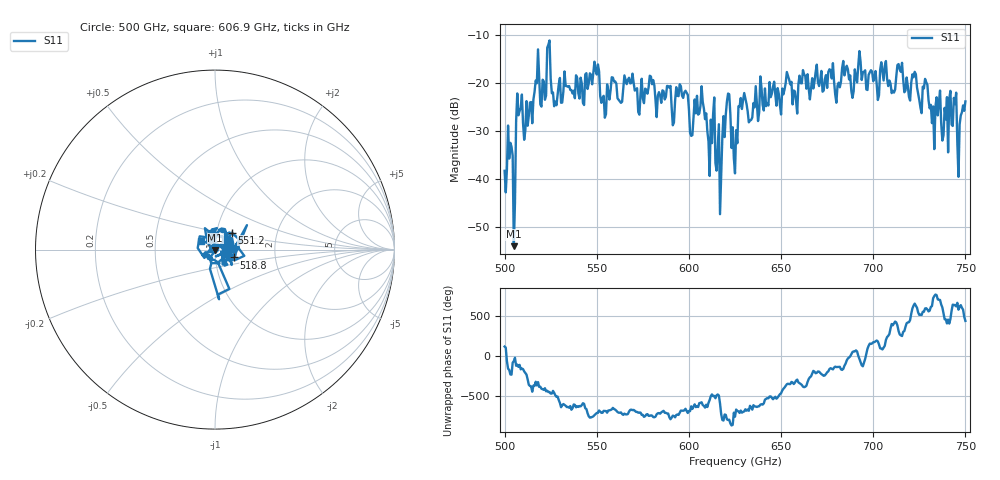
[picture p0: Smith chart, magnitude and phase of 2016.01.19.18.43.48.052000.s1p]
!Created with skrf (http://scikit-rf.org).
# GHz S RI R 50.0
!freq ReS11 ImS11
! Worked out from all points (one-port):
!   401 points, 500 GHz to 750 GHz, reference 50 ohm
!   lowest |S11| = -54.0 dB at 505 GHz (marker M1), VSWR 1.00, Z = 50.1 - j0.177 ohm
!   |S11| at or under -10 dB: start of sweep to end of sweep
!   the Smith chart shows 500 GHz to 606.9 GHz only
!   S11 on the Smith chart (normalised r, x): 500 GHz: 0.99, +0.02; 518.8 GHz: 1.23, -0.11; 551.2 GHz: 1.18, +0.23; 606.9 GHz: 0.85, +0.09
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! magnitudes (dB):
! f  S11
! 500 GHz  -38.3
! 503.1 GHz  -32.5
! 505 GHz  -54.0
! 508.1 GHz  -25.9
! 511.2 GHz  -29.9
! 518.8 GHz  -18.8
! 524.4 GHz  -11.1
! 526.9 GHz  -24.8
! 531.2 GHz  -24.1
! 551.2 GHz  -17.6
! 562.5 GHz  -23.9
! 593.8 GHz  -22.7
! 601.2 GHz  -31.0
! 606.9 GHz  -20.7
! 616.2 GHz  -28.6
! 621.2 GHz  -22.2
! 625 GHz  -38.8
! 629.4 GHz  -23.6
! 656.2 GHz  -24.5
! 687.5 GHz  -18.4
! 710.6 GHz  -21.6
! 714.4 GHz  -17.2
! 718.8 GHz  -20.6
! 728.1 GHz  -19.1
! 731.9 GHz  -28.4
! 742.5 GHz  -28.7
! 746.9 GHz  -28.6
! 750 GHz  -23.8
